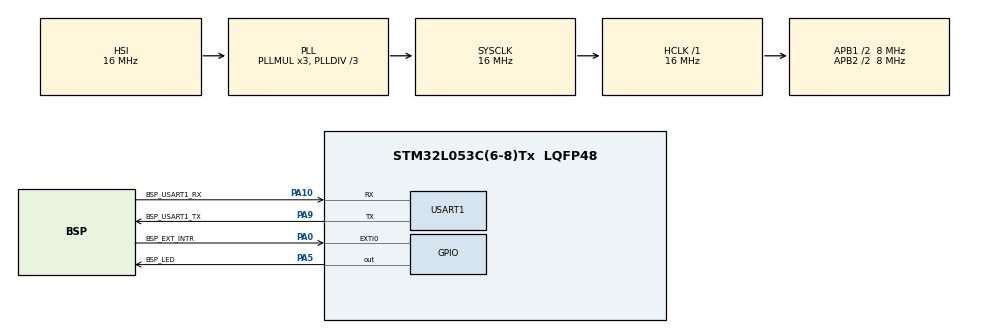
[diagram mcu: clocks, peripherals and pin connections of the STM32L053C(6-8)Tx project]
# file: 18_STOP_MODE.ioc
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Mcu.Family=STM32L0
Mcu.Name=STM32L053C(6-8)Tx
Mcu.Package=LQFP48
NVIC.EXTI0_1_IRQn=true\:0\:0\:false\:false\:true\:true\:true\:true
NVIC.RTC_IRQn=true\:0\:0\:false\:false\:true\:true\:true\:true
PA0.GPIO_Label=BSP_EXT_INTR
PA0.Signal=GPXTI0
PA10.GPIO_Label=BSP_USART1_RX
PA10.Mode=Asynchronous
PA10.Signal=USART1_RX
PA5.GPIO_Label=BSP_LED
PA5.Signal=GPIO_Output
PA9.GPIO_Label=BSP_USART1_TX
PA9.Mode=Asynchronous
PA9.Signal=USART1_TX
ProjectManager.HeapSize=0x200
ProjectManager.StackSize=0x400
ProjectManager.TargetToolchain=STM32CubeIDE
RCC.AHBFreq_Value=16000000
RCC.APB1CLKDivider=RCC_HCLK_DIV2
RCC.APB1Freq_Value=8000000
RCC.APB1TimFreq_Value=16000000
RCC.APB2CLKDivider=RCC_HCLK_DIV2
RCC.APB2Freq_Value=8000000
RCC.APB2TimFreq_Value=16000000
RCC.HCLKFreq_Value=16000000
RCC.HSE_VALUE=8000000
RCC.HSI16_VALUE=16000000
RCC.HSI48MClockSelection=RCC_USBCLKSOURCE_HSI48
RCC.HSI48_VALUE=48000000
RCC.HSI_VALUE=16000000
RCC.LSE_VALUE=32768
RCC.MSI_VALUE=2097000
RCC.PLLDIV=RCC_PLLDIV_3
RCC.RTCClockSelection=RCC_RTCCLKSOURCE_LSI
RCC.RTCClockSelectionVirtual=RCC_RTCCLKSOURCE_LSE
RCC.SYSCLKFreq_VALUE=16000000
RCC.SYSCLKSource=RCC_SYSCLKSOURCE_PLLCLK
RCC.VCOOutputFreq_Value=48000000
RTC.Date=2
RTC.Month=RTC_MONTH_MAY
RTC.WeekDay=RTC_WEEKDAY_THURSDAY
RTC.Year=24
USART1.VirtualMode-Asynchronous=VM_ASYNC
VP_RTC_VS_RTC_Activate.Mode=RTC_Enabled
VP_RTC_VS_RTC_Calendar.Mode=RTC_Calendar
VP_RTC_VS_RTC_WakeUp_intern.Mode=WakeUp
board=STM32L0538-DISCO

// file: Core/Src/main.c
/* USER CODE BEGIN Header */
/**
 ******************************************************************************
 * @file           : main.c
 * @brief          : Main program body
 ******************************************************************************
 * @attention
 *
 * Copyright (c) 2024 STMicroelectronics.
 * All rights reserved.
 *
 * This software is licensed under terms that can be found in the LICENSE file
 * in the root directory of this software component.
 * If no LICENSE file comes with this software, it is provided AS-IS.
 *
 ******************************************************************************
 */
/* USER CODE END Header */
#include "main.h"

/* USER CODE BEGIN Includes */
#include<string.h>
/* USER CODE END Includes */

RTC_HandleTypeDef hrtc;

UART_HandleTypeDef huart1;

/* USER CODE BEGIN PV */
int i;
char *str;
/* USER CODE END PV */

void SystemClock_Config(void);
static void MX_GPIO_Init(void);
static void MX_USART1_UART_Init(void);
static void MX_RTC_Init(void);

int main(void) {

	/* MCU Configuration--------------------------------------------------------*/

	/* Reset of all peripherals, Initializes the Flash interface and the Systick. */
	HAL_Init();

	/* Configure the system clock */
	SystemClock_Config();

	/* Initialize all configured peripherals */
	MX_GPIO_Init();
	MX_USART1_UART_Init();
	MX_RTC_Init();
	/* USER CODE BEGIN 2 */

	for (i = 0; i < 10; i++) {
		HAL_GPIO_TogglePin(GPIOA, GPIO_PIN_5);
		HAL_Delay(200);
	}

	str = "About to go into stop mode\r\n";
	HAL_UART_Transmit(&huart1, (uint8_t*) str, strlen(str), HAL_MAX_DELAY);

	/* RTC wake up timer related */

	/*
	 * Configure the wakeup timer
	 *
	 * RTC wakeup interrupt generation :
	 *  WAKE-UP TIME BASE =  ((RTC_WAKEUPCLOCK_RTCCLK_DIV) / (LSI))
	 *  WAKE-UP COUNTER = WAKE-UP TIME / WAKE-UP TIME BASE
	 *
	 *  To configure the wakeup timer to 10 sec the wakeup counter is set to 0x5A56
	 *
	 *   WAKE-UP TIME BASE =  16 / 37 kHz = 0.0004324
	 *   WAKE-UP COUNTER = 10sec /0.0004324 = 23126.73 = 0x5A56
	 */

	/** Enable the WakeUp
	 */
	if (HAL_RTCEx_SetWakeUpTimer_IT(&hrtc, 0x5A56, RTC_WAKEUPCLOCK_RTCCLK_DIV16)
			!= HAL_OK) {
		Error_Handler();
	}

	/* Suspend the SisTick before going into stop mode */
	HAL_SuspendTick();

	HAL_PWR_EnableSleepOnExit();
	/* Enter the STOP mode */
	HAL_PWR_EnterSTOPMode(PWR_LOWPOWERREGULATOR_ON, PWR_STOPENTRY_WFI);

	/*  Wake up from stop mode */

	// disable the RTC wake-up
	HAL_RTCEx_DeactivateWakeUpTimer(&hrtc);

	for (i = 0; i < 5; i++) {
		HAL_GPIO_TogglePin(GPIOA, GPIO_PIN_5);
		HAL_Delay(1000);
	}

	str = "Wake up from stop mode in the main loop\r\n";
	HAL_UART_Transmit(&huart1, (uint8_t*) str, strlen(str), HAL_MAX_DELAY);

	/* USER CODE END 2 */

	/* Infinite loop */
	while (1) {

	}
}

void SystemClock_Config(void) {
	RCC_OscInitTypeDef RCC_OscInitStruct = { 0 };
	RCC_ClkInitTypeDef RCC_ClkInitStruct = { 0 };
	RCC_PeriphCLKInitTypeDef PeriphClkInit = { 0 };

	/** Configure the main internal regulator output voltage
	 */
	__HAL_PWR_VOLTAGESCALING_CONFIG(PWR_REGULATOR_VOLTAGE_SCALE1);

	/** Initializes the RCC Oscillators according to the specified parameters
	 * in the RCC_OscInitTypeDef structure.
	 */
	RCC_OscInitStruct.OscillatorType = RCC_OSCILLATORTYPE_HSI
			| RCC_OSCILLATORTYPE_LSI;
	RCC_OscInitStruct.HSIState = RCC_HSI_ON;
	RCC_OscInitStruct.HSICalibrationValue = RCC_HSICALIBRATION_DEFAULT;
	RCC_OscInitStruct.LSIState = RCC_LSI_ON;
	RCC_OscInitStruct.PLL.PLLState = RCC_PLL_ON;
	RCC_OscInitStruct.PLL.PLLSource = RCC_PLLSOURCE_HSI;
	RCC_OscInitStruct.PLL.PLLMUL = RCC_PLLMUL_3;
	RCC_OscInitStruct.PLL.PLLDIV = RCC_PLLDIV_3;
	if (HAL_RCC_OscConfig(&RCC_OscInitStruct) != HAL_OK) {
		Error_Handler();
	}

	/** Initializes the CPU, AHB and APB buses clocks
	 */
	RCC_ClkInitStruct.ClockType = RCC_CLOCKTYPE_HCLK | RCC_CLOCKTYPE_SYSCLK
			| RCC_CLOCKTYPE_PCLK1 | RCC_CLOCKTYPE_PCLK2;
	RCC_ClkInitStruct.SYSCLKSource = RCC_SYSCLKSOURCE_PLLCLK;
	RCC_ClkInitStruct.AHBCLKDivider = RCC_SYSCLK_DIV1;
	RCC_ClkInitStruct.APB1CLKDivider = RCC_HCLK_DIV2;
	RCC_ClkInitStruct.APB2CLKDivider = RCC_HCLK_DIV2;

	if (HAL_RCC_ClockConfig(&RCC_ClkInitStruct, FLASH_LATENCY_0) != HAL_OK) {
		Error_Handler();
	}
	PeriphClkInit.PeriphClockSelection = RCC_PERIPHCLK_USART1
			| RCC_PERIPHCLK_RTC;
	PeriphClkInit.Usart1ClockSelection = RCC_USART1CLKSOURCE_PCLK2;
	PeriphClkInit.RTCClockSelection = RCC_RTCCLKSOURCE_LSI;
	if (HAL_RCCEx_PeriphCLKConfig(&PeriphClkInit) != HAL_OK) {
		Error_Handler();
	}
}

static void MX_RTC_Init(void) {

	RTC_TimeTypeDef sTime = { 0 };
	RTC_DateTypeDef sDate = { 0 };

	/** Initialize RTC Only
	 */
	hrtc.Instance = RTC;
	hrtc.Init.HourFormat = RTC_HOURFORMAT_24;
	hrtc.Init.AsynchPrediv = 127;
	hrtc.Init.SynchPrediv = 255;
	hrtc.Init.OutPut = RTC_OUTPUT_DISABLE;
	hrtc.Init.OutPutRemap = RTC_OUTPUT_REMAP_NONE;
	hrtc.Init.OutPutPolarity = RTC_OUTPUT_POLARITY_HIGH;
	hrtc.Init.OutPutType = RTC_OUTPUT_TYPE_OPENDRAIN;
	if (HAL_RTC_Init(&hrtc) != HAL_OK) {
		Error_Handler();
	}

	/** Initialize RTC and set the Time and Date
	 */
	sTime.Hours = 0x0;
	sTime.Minutes = 0x0;
	sTime.Seconds = 0x0;
	sTime.DayLightSaving = RTC_DAYLIGHTSAVING_NONE;
	sTime.StoreOperation = RTC_STOREOPERATION_RESET;
	if (HAL_RTC_SetTime(&hrtc, &sTime, RTC_FORMAT_BCD) != HAL_OK) {
		Error_Handler();
	}
	sDate.WeekDay = RTC_WEEKDAY_THURSDAY;
	sDate.Month = RTC_MONTH_MAY;
	sDate.Date = 0x2;
	sDate.Year = 0x24;

	if (HAL_RTC_SetDate(&hrtc, &sDate, RTC_FORMAT_BCD) != HAL_OK) {
		Error_Handler();
	}

//  /** Enable the WakeUp
//  */
//  if (HAL_RTCEx_SetWakeUpTimer_IT(&hrtc, 0, RTC_WAKEUPCLOCK_RTCCLK_DIV16) != HAL_OK)
//  {
//    Error_Handler();
//  }

}

static void MX_USART1_UART_Init(void) {

	huart1.Instance = USART1;
	huart1.Init.BaudRate = 115200;
	huart1.Init.WordLength = UART_WORDLENGTH_8B;
	huart1.Init.StopBits = UART_STOPBITS_1;
	huart1.Init.Parity = UART_PARITY_NONE;
	huart1.Init.Mode = UART_MODE_TX_RX;
	huart1.Init.HwFlowCtl = UART_HWCONTROL_NONE;
	huart1.Init.OverSampling = UART_OVERSAMPLING_16;
	huart1.Init.OneBitSampling = UART_ONE_BIT_SAMPLE_DISABLE;
	huart1.AdvancedInit.AdvFeatureInit = UART_ADVFEATURE_NO_INIT;
	if (HAL_UART_Init(&huart1) != HAL_OK) {
		Error_Handler();
	}

}

static void MX_GPIO_Init(void) {
	GPIO_InitTypeDef GPIO_InitStruct = { 0 };

	/* GPIO Ports Clock Enable */
	__HAL_RCC_GPIOA_CLK_ENABLE();

	/*Configure GPIO pin Output Level */
	HAL_GPIO_WritePin(BSP_LED_GPIO_Port, BSP_LED_Pin, GPIO_PIN_RESET);

	/*Configure GPIO pin : BSP_EXT_INTR_Pin */
	GPIO_InitStruct.Pin = BSP_EXT_INTR_Pin;
	GPIO_InitStruct.Mode = GPIO_MODE_IT_RISING;
	GPIO_InitStruct.Pull = GPIO_NOPULL;
	HAL_GPIO_Init(BSP_EXT_INTR_GPIO_Port, &GPIO_InitStruct);

	/*Configure GPIO pin : BSP_LED_Pin */
	GPIO_InitStruct.Pin = BSP_LED_Pin;
	GPIO_InitStruct.Mode = GPIO_MODE_OUTPUT_PP;
	GPIO_InitStruct.Pull = GPIO_NOPULL;
	GPIO_InitStruct.Speed = GPIO_SPEED_FREQ_LOW;
	HAL_GPIO_Init(BSP_LED_GPIO_Port, &GPIO_InitStruct);

	/* EXTI interrupt init*/
	HAL_NVIC_SetPriority(EXTI0_1_IRQn, 0, 0);
	HAL_NVIC_EnableIRQ(EXTI0_1_IRQn);

}

/* USER CODE BEGIN 4 */
void HAL_GPIO_EXTI_Callback(uint16_t GPIO_Pin) {
	/* Wake up from the stop mode */
	SystemClock_Config(); // reconfigure the clocks after wake up from stop mode
	HAL_ResumeTick();
	str = "Wake up from EXTI \r\n";
	HAL_UART_Transmit(&huart1, (uint8_t*) str, strlen(str), HAL_MAX_DELAY);
	HAL_PWR_DisableSleepOnExit();

}

void HAL_RTCEx_WakeUpTimerEventCallback(RTC_HandleTypeDef *hrtc) {
	SystemClock_Config(); // reconfigure the clocks after wake up from stop mode
	HAL_ResumeTick();
	str = "Wake up from RTC \r\n";
	HAL_UART_Transmit(&huart1, (uint8_t*) str, strlen(str), HAL_MAX_DELAY);
}
/* USER CODE END 4 */

void Error_Handler(void) {
	__disable_irq();
	while (1) {
	}
}
